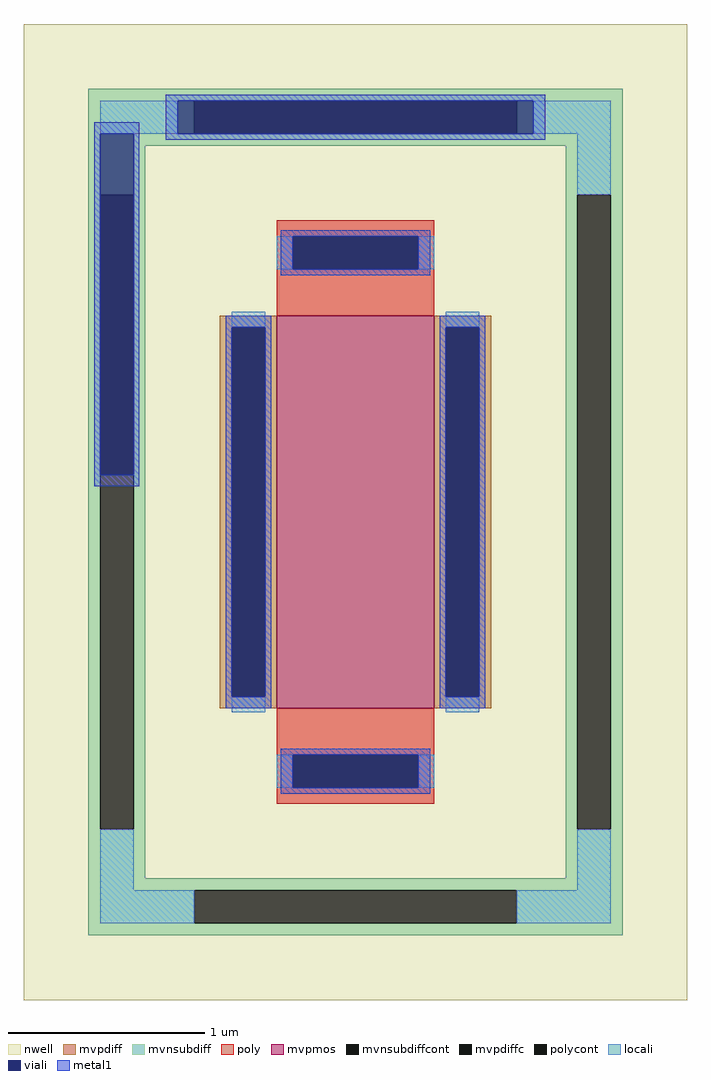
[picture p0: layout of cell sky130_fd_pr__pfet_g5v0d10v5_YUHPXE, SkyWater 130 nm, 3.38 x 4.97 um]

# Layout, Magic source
magic
tech sky130A
magscale 1 2
<< nwell >>
rect -338 -497 338 497
<< mvpmos >>
rect -80 -200 80 200
<< mvpdiff >>
rect -138 188 -80 200
rect -138 -188 -126 188
rect -92 -188 -80 188
rect -138 -200 -80 -188
rect 80 188 138 200
rect 80 -188 92 188
rect 126 -188 138 188
rect 80 -200 138 -188
<< mvpdiffc >>
rect -126 -188 -92 188
rect 92 -188 126 188
<< mvnsubdiff >>
rect -272 419 272 431
rect -272 385 -164 419
rect 164 385 272 419
rect -272 373 272 385
rect -272 323 -214 373
rect -272 -323 -260 323
rect -226 -323 -214 323
rect 214 323 272 373
rect -272 -373 -214 -323
rect 214 -323 226 323
rect 260 -323 272 323
rect 214 -373 272 -323
rect -272 -385 272 -373
rect -272 -419 -164 -385
rect 164 -419 272 -385
rect -272 -431 272 -419
<< mvnsubdiffcont >>
rect -164 385 164 419
rect -260 -323 -226 323
rect 226 -323 260 323
rect -164 -419 164 -385
<< poly >>
rect -80 281 80 297
rect -80 247 -64 281
rect 64 247 80 281
rect -80 200 80 247
rect -80 -247 80 -200
rect -80 -281 -64 -247
rect 64 -281 80 -247
rect -80 -297 80 -281
<< polycont >>
rect -64 247 64 281
rect -64 -281 64 -247
<< locali >>
rect -260 385 -181 419
rect 181 385 260 419
rect 226 323 260 385
rect -80 247 -64 281
rect 64 247 80 281
rect -126 188 -92 204
rect -126 -204 -92 -188
rect 92 188 126 204
rect 92 -204 126 -188
rect -80 -281 -64 -247
rect 64 -281 80 -247
rect -260 -385 -226 -323
rect 226 -385 260 -323
rect -260 -419 -164 -385
rect 164 -419 260 -385
<< viali >>
rect -181 385 -164 419
rect -164 385 164 419
rect 164 385 181 419
rect -260 323 -226 385
rect -260 38 -226 323
rect -64 247 64 281
rect -126 -188 -92 188
rect 92 -188 126 188
rect -64 -281 64 -247
<< metal1 >>
rect -193 419 193 425
rect -266 385 -220 397
rect -266 38 -260 385
rect -226 38 -220 385
rect -193 385 -181 419
rect 181 385 193 419
rect -193 379 193 385
rect -76 281 76 287
rect -76 247 -64 281
rect 64 247 76 281
rect -76 241 76 247
rect -266 26 -220 38
rect -132 188 -86 200
rect -132 -188 -126 188
rect -92 -188 -86 188
rect -132 -200 -86 -188
rect 86 188 132 200
rect 86 -188 92 188
rect 126 -188 132 188
rect 86 -200 132 -188
rect -76 -247 76 -241
rect -76 -281 -64 -247
rect 64 -281 76 -247
rect -76 -287 76 -281
<< properties >>
string gencell sky130_fd_pr__pfet_g5v0d10v5
string FIXED_BBOX -243 -402 243 402
string parameters w 2.00 l 0.80 m 1 nf 1 diffcov 100 polycov 100 guard 1 glc 1 grc 1 gtc 1 gbc 1 tbcov 100 rlcov 100 topc 1 botc 1 poverlap 0 doverlap 1 lmin 0.50 wmin 0.42 compatible {sky130_fd_pr__pfet_01v8  sky130_fd_pr__pfet_01v8_lvt sky130_fd_pr__pfet_01v8_hvt  sky130_fd_pr__pfet_g5v0d10v5} full_metal 1 viagl -45 viagr 0 viagt 80 viagb 0 viagate 100 viadrn 100 viasrc 100
string library sky130
<< end >>
